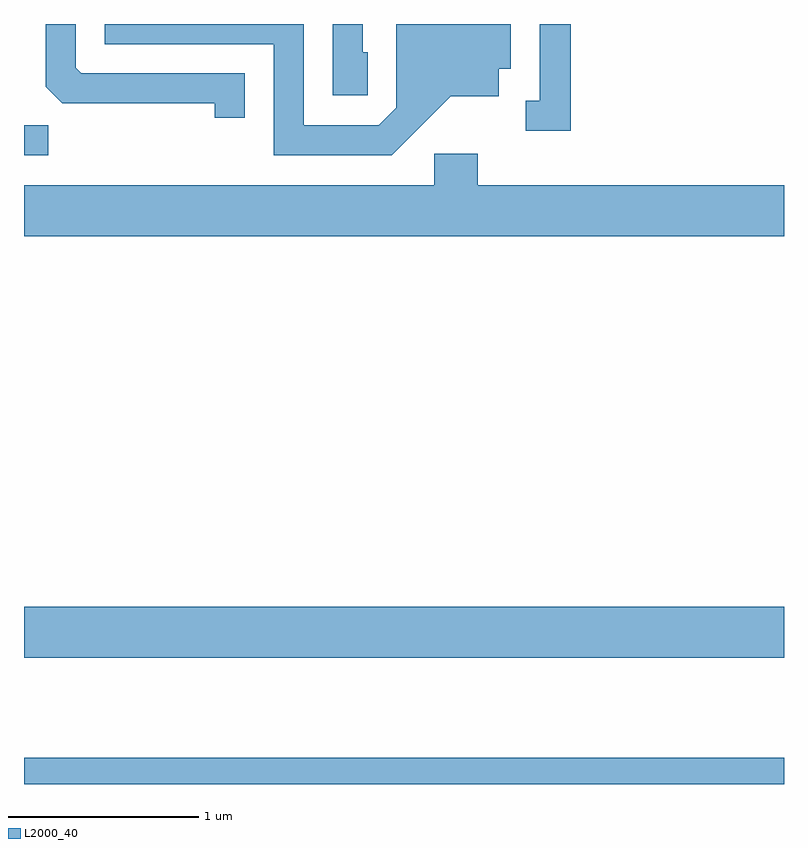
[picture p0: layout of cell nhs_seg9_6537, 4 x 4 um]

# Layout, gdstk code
import gdstk
lib = gdstk.Library(unit=1e-6, precision=1e-09)
def R(c, l, rs):  # rectangles x0, y0, x1, y1
    for r in rs: c.add(gdstk.rectangle(r[:2], r[2:], *l))
def P(c, l, *ps):  # polygons
    for p in ps: c.add(gdstk.Polygon(p, *l))
L2000_40 = (2000, 40)

nhs_seg9_6537 = lib.new_cell('nhs_seg9_6537')
R(nhs_seg9_6537, L2000_40, [(377.611,2044.432,381.611,2044.569), (377.611,2045.096,381.611,2045.364), (377.611,2047.741,377.738,2047.899)])
P(nhs_seg9_6537, L2000_40, [(380.489,2048.432),(380.326,2048.432),(380.326,2048.029),(380.253,2048.029),(380.253,2047.871),(380.489,2047.871)],
  [(379.857,2048.051),(380.109,2048.051),(380.109,2048.196),(380.174,2048.196),(380.174,2048.432),(379.571,2048.432),(379.571,2047.992),(379.479,2047.899),(379.084,2047.899),(379.084,2048.432),(378.036,2048.432),(378.036,2048.326),(378.926,2048.326),(378.926,2047.741),(379.547,2047.741)],
  [(378.774,2048.174),(377.912,2048.174),(377.884,2048.202),(377.884,2048.432),(377.726,2048.432),(377.726,2048.102),(377.812,2048.016),(378.616,2048.016),(378.616,2047.938),(378.774,2047.938)],
  [(379.419,2048.284),(379.394,2048.284),(379.394,2048.432),(379.236,2048.432),(379.236,2048.056),(379.419,2048.056)],
  [(381.611,2047.584),(379.999,2047.584),(379.999,2047.749),(379.771,2047.749),(379.771,2047.584),(377.611,2047.584),(377.611,2047.316),(381.611,2047.316)])

lib.write_gds('nhs_seg9_6537.gds')
